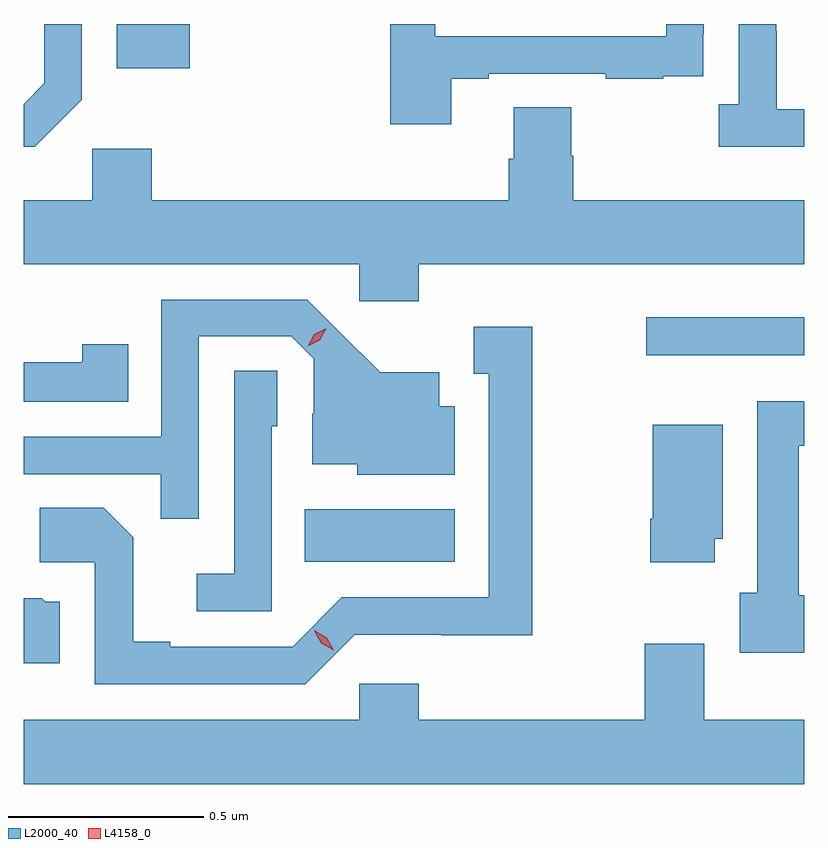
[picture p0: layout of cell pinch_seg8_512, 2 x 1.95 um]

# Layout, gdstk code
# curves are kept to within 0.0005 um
import gdstk
lib = gdstk.Library(unit=1e-6, precision=1e-09)
def R(c, l, rs):  # rectangles x0, y0, x1, y1
    for r in rs: c.add(gdstk.rectangle(r[:2], r[2:], *l))
def P(c, l, *ps):  # polygons
    for p in ps: c.add(gdstk.Polygon(p, *l))
L2000_40 = (2000, 40)
L4158_0 = (4158, 0)

pinch_seg8_512 = lib.new_cell('pinch_seg8_512')
R(pinch_seg8_512, L2000_40, [(155.572,1123.73,155.956,1123.864), (156.447,1124.259,156.852,1124.356), (155.09,1124.993,155.278,1125.107)])
P(pinch_seg8_512, L2000_40, [(155.947,1124.967),(156.043,1124.967),(156.043,1124.979),(156.343,1124.979),(156.343,1124.967),(156.491,1124.967),(156.491,1124.973),(156.593,1124.973),(156.593,1125.082),(156.594,1125.082),(156.594,1125.107),(156.498,1125.107),(156.498,1125.075),(155.907,1125.075),(155.907,1125.107),(155.791,1125.107),(155.791,1124.85),(155.947,1124.85)],
  [(155.001,1124.913),(155.001,1125.107),(154.905,1125.107),(154.905,1124.955),(154.852,1124.902),(154.852,1124.792),(154.88,1124.792)],
  [(156.852,1124.889),(156.781,1124.889),(156.781,1125.089),(156.78,1125.089),(156.78,1125.107),(156.684,1125.107),(156.684,1124.902),(156.633,1124.902),(156.633,1124.792),(156.852,1124.792)],
  [(155.864,1124.492),(156.852,1124.492),(156.852,1124.656),(156.26,1124.656),(156.26,1124.769),(156.255,1124.769),(156.255,1124.894),(156.107,1124.894),(156.107,1124.762),(156.095,1124.762),(156.095,1124.656),(155.18,1124.656),(155.18,1124.788),(155.028,1124.788),(155.028,1124.656),(154.852,1124.656),(154.852,1124.492),(155.712,1124.492),(155.712,1124.397),(155.864,1124.397)],
  [(155.301,1124.307),(155.538,1124.307),(155.595,1124.25),(155.595,1124.108),(155.591,1124.108),(155.591,1123.979),(155.706,1123.979),(155.706,1123.952),(155.956,1123.952),(155.956,1124.128),(155.917,1124.128),(155.917,1124.215),(155.765,1124.215),(155.578,1124.4),(155.205,1124.4),(155.205,1124.049),(154.852,1124.049),(154.852,1123.953),(155.203,1123.953),(155.203,1123.84),(155.301,1123.84)],
  [(155.7,1123.542),(155.922,1123.542),(155.922,1123.541),(156.155,1123.541),(156.155,1124.332),(156.005,1124.332),(156.005,1124.211),(156.044,1124.211),(156.044,1123.638),(155.667,1123.638),(155.541,1123.512),(155.227,1123.512),(155.227,1123.525),(155.133,1123.525),(155.133,1123.792),(155.057,1123.868),(154.893,1123.868),(154.893,1123.728),(155.034,1123.728),(155.034,1123.416),(155.574,1123.416)],
  [(155.12,1124.287),(155.002,1124.287),(155.002,1124.24),(154.852,1124.24),(154.852,1124.139),(155.12,1124.139)],
  [(155.487,1124.076),(155.502,1124.076),(155.502,1124.219),(155.391,1124.219),(155.391,1123.699),(155.295,1123.699),(155.295,1123.602),(155.487,1123.602)],
  [(156.852,1123.644),(156.838,1123.644),(156.838,1124.027),(156.852,1124.027),(156.852,1124.14),(156.731,1124.14),(156.731,1123.65),(156.686,1123.65),(156.686,1123.496),(156.852,1123.496)],
  [(156.622,1123.788),(156.643,1123.788),(156.643,1124.08),(156.464,1124.08),(156.464,1123.84),(156.457,1123.84),(156.457,1123.728),(156.622,1123.728)],
  [(154.945,1123.627),(154.907,1123.627),(154.898,1123.636),(154.852,1123.636),(154.852,1123.469),(154.945,1123.469)],
  [(156.852,1123.324),(156.595,1123.324),(156.595,1123.519),(156.443,1123.519),(156.443,1123.324),(155.864,1123.324),(155.864,1123.417),(155.712,1123.417),(155.712,1123.324),(154.852,1123.324),(154.852,1123.16),(156.852,1123.16)])
P(pinch_seg8_512, L4158_0, [(155.646,1123.503),(155.614,1123.521),(155.596,1123.553),(155.596,1123.554),(155.596,1123.554),(155.628,1123.535),(155.646,1123.503),(155.646,1123.503)],
  [(155.58,1124.282),(155.58,1124.282),(155.597,1124.312),(155.627,1124.327),(155.627,1124.327),(155.627,1124.327),(155.61,1124.297),(155.58,1124.282)])

lib.write_gds('pinch_seg8_512.gds')
